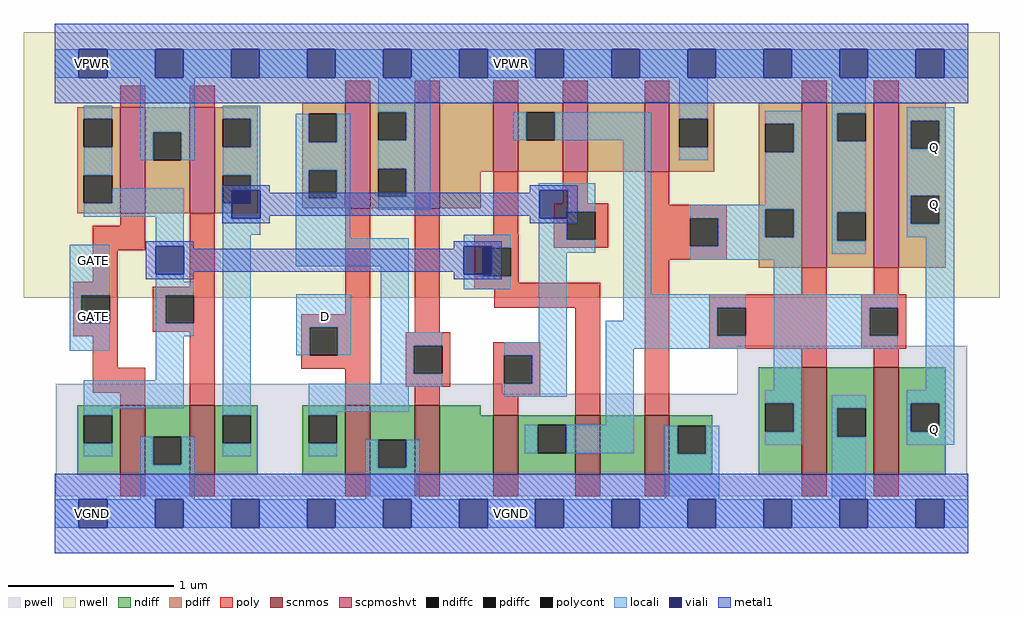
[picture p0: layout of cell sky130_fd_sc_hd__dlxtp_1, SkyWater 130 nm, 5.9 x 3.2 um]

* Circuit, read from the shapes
.subckt sky130_fd_sc_hd__dlxtp_1 D GATE VGND VNB VPB VPWR Q
XM1 VGND GATE n1 VNB sky130_fd_pr__nfet_01v8 w=0.42 l=0.15
XM2 n2 n1 VGND VNB sky130_fd_pr__nfet_01v8 w=0.42 l=0.15
XM3 VGND D n3 VNB sky130_fd_pr__nfet_01v8 w=0.42 l=0.15
XM4 n4 n3 VGND VNB sky130_fd_pr__nfet_01v8 w=0.42 l=0.15
XM5 n5 n2 n4 VNB sky130_fd_pr__nfet_01v8 w=0.36 l=0.15
XM6 n6 n1 n5 VNB sky130_fd_pr__nfet_01v8 w=0.36 l=0.15
XM7 VGND n7 n6 VNB sky130_fd_pr__nfet_01v8 w=0.36 l=0.15
XM8 VGND n5 n7 VNB sky130_fd_pr__nfet_01v8 w=0.65 l=0.15
XM9 Q n7 VGND VNB sky130_fd_pr__nfet_01v8 w=0.65 l=0.15
XM10 VPWR GATE n1 VPB sky130_fd_pr__pfet_01v8_hvt w=0.64 l=0.15
XM11 n2 n1 VPWR VPB sky130_fd_pr__pfet_01v8_hvt w=0.64 l=0.15
XM12 VPWR D n3 VPB sky130_fd_pr__pfet_01v8_hvt w=0.64 l=0.15
XM13 n8 n3 VPWR VPB sky130_fd_pr__pfet_01v8_hvt w=0.64 l=0.15
XM14 n5 n1 n8 VPB sky130_fd_pr__pfet_01v8_hvt w=0.42 l=0.15
XM15 n9 n2 n5 VPB sky130_fd_pr__pfet_01v8_hvt w=0.42 l=0.15
XM16 VPWR n7 n9 VPB sky130_fd_pr__pfet_01v8_hvt w=0.42 l=0.15
XM17 VPWR n5 n7 VPB sky130_fd_pr__pfet_01v8_hvt w=1 l=0.15
XM18 Q n7 VPWR VPB sky130_fd_pr__pfet_01v8_hvt w=1 l=0.15
.ends

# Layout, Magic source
magic
tech sky130A
magscale 1 2
<< nwell >>
rect -38 261 1142 582
<< pwell >>
rect 1 145 541 157
rect 825 145 1103 203
rect 1 21 1103 145
rect 29 -17 63 21
<< scnmos >>
rect 79 47 109 131
rect 163 47 193 131
rect 351 47 381 131
rect 435 47 465 131
rect 530 47 560 119
rect 629 47 659 119
rect 713 47 743 119
rect 903 47 933 177
rect 990 47 1020 177
<< scpmoshvt >>
rect 79 363 109 491
rect 163 363 193 491
rect 351 369 381 497
rect 435 369 465 497
rect 530 413 560 497
rect 614 413 644 497
rect 713 413 743 497
rect 903 297 933 497
rect 990 297 1020 497
<< ndiff >>
rect 27 119 79 131
rect 27 85 35 119
rect 69 85 79 119
rect 27 47 79 85
rect 109 93 163 131
rect 109 59 119 93
rect 153 59 163 93
rect 109 47 163 59
rect 193 119 245 131
rect 193 85 203 119
rect 237 85 245 119
rect 193 47 245 85
rect 299 119 351 131
rect 299 85 307 119
rect 341 85 351 119
rect 299 47 351 85
rect 381 89 435 131
rect 381 55 391 89
rect 425 55 435 89
rect 381 47 435 55
rect 465 119 515 131
rect 851 133 903 177
rect 465 47 530 119
rect 560 107 629 119
rect 560 73 584 107
rect 618 73 629 107
rect 560 47 629 73
rect 659 47 713 119
rect 743 106 795 119
rect 743 72 753 106
rect 787 72 795 106
rect 743 47 795 72
rect 851 99 859 133
rect 893 99 903 133
rect 851 47 903 99
rect 933 127 990 177
rect 933 93 946 127
rect 980 93 990 127
rect 933 47 990 93
rect 1020 133 1077 177
rect 1020 99 1035 133
rect 1069 99 1077 133
rect 1020 47 1077 99
<< pdiff >>
rect 27 477 79 491
rect 27 443 35 477
rect 69 443 79 477
rect 27 409 79 443
rect 27 375 35 409
rect 69 375 79 409
rect 27 363 79 375
rect 109 461 163 491
rect 109 427 119 461
rect 153 427 163 461
rect 109 363 163 427
rect 193 477 245 491
rect 193 443 203 477
rect 237 443 245 477
rect 193 409 245 443
rect 193 375 203 409
rect 237 375 245 409
rect 193 363 245 375
rect 299 483 351 497
rect 299 449 307 483
rect 341 449 351 483
rect 299 415 351 449
rect 299 381 307 415
rect 341 381 351 415
rect 299 369 351 381
rect 381 485 435 497
rect 381 451 391 485
rect 425 451 435 485
rect 381 417 435 451
rect 381 383 391 417
rect 425 383 435 417
rect 381 369 435 383
rect 465 413 530 497
rect 560 485 614 497
rect 560 451 570 485
rect 604 451 614 485
rect 560 413 614 451
rect 644 413 713 497
rect 743 477 797 497
rect 743 443 755 477
rect 789 443 797 477
rect 743 413 797 443
rect 851 471 903 497
rect 851 437 859 471
rect 893 437 903 471
rect 465 369 515 413
rect 851 368 903 437
rect 851 334 859 368
rect 893 334 903 368
rect 851 297 903 334
rect 933 484 990 497
rect 933 450 946 484
rect 980 450 990 484
rect 933 364 990 450
rect 933 330 946 364
rect 980 330 990 364
rect 933 297 990 330
rect 1020 475 1077 497
rect 1020 441 1035 475
rect 1069 441 1077 475
rect 1020 384 1077 441
rect 1020 350 1035 384
rect 1069 350 1077 384
rect 1020 297 1077 350
<< ndiffc >>
rect 35 85 69 119
rect 119 59 153 93
rect 203 85 237 119
rect 307 85 341 119
rect 391 55 425 89
rect 584 73 618 107
rect 753 72 787 106
rect 859 99 893 133
rect 946 93 980 127
rect 1035 99 1069 133
<< pdiffc >>
rect 35 443 69 477
rect 35 375 69 409
rect 119 427 153 461
rect 203 443 237 477
rect 203 375 237 409
rect 307 449 341 483
rect 307 381 341 415
rect 391 451 425 485
rect 391 383 425 417
rect 570 451 604 485
rect 755 443 789 477
rect 859 437 893 471
rect 859 334 893 368
rect 946 450 980 484
rect 946 330 980 364
rect 1035 441 1069 475
rect 1035 350 1069 384
<< poly >>
rect 79 491 109 517
rect 163 491 193 517
rect 351 497 381 523
rect 435 497 465 523
rect 530 497 560 523
rect 614 497 644 523
rect 713 497 743 523
rect 903 497 933 523
rect 990 497 1020 523
rect 79 348 109 363
rect 46 318 109 348
rect 46 280 76 318
rect 22 264 76 280
rect 163 274 193 363
rect 22 230 32 264
rect 66 230 76 264
rect 22 214 76 230
rect 118 264 193 274
rect 118 230 134 264
rect 168 230 193 264
rect 351 241 381 369
rect 118 220 193 230
rect 46 176 76 214
rect 46 146 109 176
rect 79 131 109 146
rect 163 131 193 220
rect 298 225 381 241
rect 298 191 308 225
rect 342 191 381 225
rect 435 219 465 369
rect 530 337 560 413
rect 614 375 644 413
rect 603 365 669 375
rect 507 321 561 337
rect 603 331 619 365
rect 653 331 669 365
rect 603 321 669 331
rect 713 373 743 413
rect 713 357 812 373
rect 713 323 768 357
rect 802 323 812 357
rect 507 287 517 321
rect 551 287 561 321
rect 507 279 561 287
rect 713 307 812 323
rect 507 271 659 279
rect 531 249 659 271
rect 298 175 381 191
rect 351 131 381 175
rect 424 203 478 219
rect 424 169 434 203
rect 468 169 478 203
rect 424 153 478 169
rect 530 191 587 207
rect 530 157 543 191
rect 577 157 587 191
rect 435 131 465 153
rect 530 141 587 157
rect 530 119 560 141
rect 629 119 659 249
rect 713 119 743 307
rect 903 265 933 297
rect 990 265 1020 297
rect 791 249 933 265
rect 791 215 801 249
rect 835 215 933 249
rect 791 199 933 215
rect 975 249 1029 265
rect 975 215 985 249
rect 1019 215 1029 249
rect 975 199 1029 215
rect 903 177 933 199
rect 990 177 1020 199
rect 79 21 109 47
rect 163 21 193 47
rect 351 21 381 47
rect 435 21 465 47
rect 530 21 560 47
rect 629 21 659 47
rect 713 21 743 47
rect 903 21 933 47
rect 990 21 1020 47
<< polycont >>
rect 32 230 66 264
rect 134 230 168 264
rect 308 191 342 225
rect 619 331 653 365
rect 768 323 802 357
rect 517 287 551 321
rect 434 169 468 203
rect 543 157 577 191
rect 801 215 835 249
rect 985 215 1019 249
<< locali >>
rect 0 527 29 561
rect 63 527 121 561
rect 155 527 213 561
rect 247 527 305 561
rect 339 527 397 561
rect 431 527 489 561
rect 523 527 581 561
rect 615 527 673 561
rect 707 527 765 561
rect 799 527 857 561
rect 891 527 949 561
rect 983 527 1041 561
rect 1075 527 1104 561
rect 35 477 69 493
rect 35 409 69 443
rect 103 461 169 527
rect 103 427 119 461
rect 153 427 169 461
rect 203 477 248 493
rect 391 485 454 527
rect 237 443 248 477
rect 203 409 248 443
rect 69 375 156 393
rect 35 359 156 375
rect 18 264 66 325
rect 18 230 32 264
rect 18 197 66 230
rect 122 323 156 359
rect 122 280 156 289
rect 237 391 248 409
rect 203 357 214 375
rect 203 337 248 357
rect 291 449 307 483
rect 341 449 357 483
rect 291 415 357 449
rect 291 381 307 415
rect 341 381 357 415
rect 122 264 168 280
rect 122 230 134 264
rect 122 214 168 230
rect 122 161 156 214
rect 35 127 156 161
rect 35 119 69 127
rect 203 119 237 337
rect 291 333 357 381
rect 425 451 454 485
rect 554 451 570 485
rect 604 451 721 485
rect 391 417 454 451
rect 425 383 454 417
rect 391 367 454 383
rect 585 391 653 399
rect 585 357 586 391
rect 620 365 653 391
rect 291 299 428 333
rect 292 225 358 265
rect 292 191 308 225
rect 342 191 358 225
rect 394 219 428 299
rect 494 323 551 337
rect 528 321 551 323
rect 494 287 517 289
rect 494 271 551 287
rect 585 331 619 357
rect 585 315 653 331
rect 394 203 468 219
rect 585 207 619 315
rect 687 265 721 451
rect 755 477 789 527
rect 755 427 789 443
rect 859 471 903 487
rect 893 437 903 471
rect 859 373 903 437
rect 768 368 903 373
rect 768 357 859 368
rect 802 334 859 357
rect 893 334 903 368
rect 802 323 903 334
rect 768 307 903 323
rect 939 484 980 527
rect 939 450 946 484
rect 939 364 980 450
rect 939 330 946 364
rect 1030 475 1087 491
rect 1030 441 1035 475
rect 1069 441 1087 475
rect 1030 384 1087 441
rect 1030 350 1035 384
rect 1069 350 1087 384
rect 1030 334 1087 350
rect 939 314 980 330
rect 869 265 903 307
rect 687 249 835 265
rect 687 233 801 249
rect 394 169 434 203
rect 394 157 468 169
rect 35 69 69 85
rect 103 59 119 93
rect 153 59 169 93
rect 203 69 237 85
rect 307 153 468 157
rect 543 191 619 207
rect 577 157 619 191
rect 307 123 428 153
rect 543 141 619 157
rect 666 215 801 233
rect 666 199 835 215
rect 869 249 1019 265
rect 869 215 985 249
rect 869 199 1019 215
rect 307 119 341 123
rect 666 107 700 199
rect 869 149 903 199
rect 1053 149 1087 334
rect 307 69 341 85
rect 103 17 169 59
rect 375 55 391 89
rect 425 55 441 89
rect 568 73 584 107
rect 618 73 700 107
rect 859 133 903 149
rect 375 17 441 55
rect 737 72 753 106
rect 787 72 803 106
rect 893 99 903 133
rect 859 83 903 99
rect 939 127 980 143
rect 939 93 946 127
rect 737 17 803 72
rect 939 17 980 93
rect 1030 133 1087 149
rect 1030 99 1035 133
rect 1069 99 1087 133
rect 1030 83 1087 99
rect 0 -17 29 17
rect 63 -17 121 17
rect 155 -17 213 17
rect 247 -17 305 17
rect 339 -17 397 17
rect 431 -17 489 17
rect 523 -17 581 17
rect 615 -17 673 17
rect 707 -17 765 17
rect 799 -17 857 17
rect 891 -17 949 17
rect 983 -17 1041 17
rect 1075 -17 1104 17
<< viali >>
rect 29 527 63 561
rect 121 527 155 561
rect 213 527 247 561
rect 305 527 339 561
rect 397 527 431 561
rect 489 527 523 561
rect 581 527 615 561
rect 673 527 707 561
rect 765 527 799 561
rect 857 527 891 561
rect 949 527 983 561
rect 1041 527 1075 561
rect 122 289 156 323
rect 214 375 237 391
rect 237 375 248 391
rect 214 357 248 375
rect 586 365 620 391
rect 586 357 619 365
rect 619 357 620 365
rect 494 321 528 323
rect 494 289 517 321
rect 517 289 528 321
rect 29 -17 63 17
rect 121 -17 155 17
rect 213 -17 247 17
rect 305 -17 339 17
rect 397 -17 431 17
rect 489 -17 523 17
rect 581 -17 615 17
rect 673 -17 707 17
rect 765 -17 799 17
rect 857 -17 891 17
rect 949 -17 983 17
rect 1041 -17 1075 17
<< metal1 >>
rect 0 561 1104 592
rect 0 527 29 561
rect 63 527 121 561
rect 155 527 213 561
rect 247 527 305 561
rect 339 527 397 561
rect 431 527 489 561
rect 523 527 581 561
rect 615 527 673 561
rect 707 527 765 561
rect 799 527 857 561
rect 891 527 949 561
rect 983 527 1041 561
rect 1075 527 1104 561
rect 0 496 1104 527
rect 202 391 260 397
rect 202 357 214 391
rect 248 388 260 391
rect 574 391 632 397
rect 574 388 586 391
rect 248 360 586 388
rect 248 357 260 360
rect 202 351 260 357
rect 574 357 586 360
rect 620 357 632 391
rect 574 351 632 357
rect 110 323 168 329
rect 110 289 122 323
rect 156 320 168 323
rect 482 323 540 329
rect 482 320 494 323
rect 156 292 494 320
rect 156 289 168 292
rect 110 283 168 289
rect 482 289 494 292
rect 528 289 540 323
rect 482 283 540 289
rect 0 17 1104 48
rect 0 -17 29 17
rect 63 -17 121 17
rect 155 -17 213 17
rect 247 -17 305 17
rect 339 -17 397 17
rect 431 -17 489 17
rect 523 -17 581 17
rect 615 -17 673 17
rect 707 -17 765 17
rect 799 -17 857 17
rect 891 -17 949 17
rect 983 -17 1041 17
rect 1075 -17 1104 17
rect 0 -48 1104 -17
<< labels >>
flabel locali s 310 221 344 255 0 FreeSans 200 0 0 0 D
port 1 nsew signal input
flabel locali s 30 221 64 255 0 FreeSans 200 0 0 0 GATE
port 2 nsew clock input
flabel locali s 1046 357 1080 391 0 FreeSans 200 0 0 0 Q
port 7 nsew signal output
flabel locali s 30 289 64 323 0 FreeSans 200 0 0 0 GATE
port 2 nsew clock input
flabel locali s 1046 425 1080 459 0 FreeSans 200 0 0 0 Q
port 7 nsew signal output
flabel locali s 1046 85 1080 119 0 FreeSans 200 0 0 0 Q
port 7 nsew signal output
flabel metal1 s 29 -17 63 17 0 FreeSans 200 0 0 0 VGND
port 3 nsew ground bidirectional abutment
flabel metal1 s 29 527 63 561 0 FreeSans 200 0 0 0 VPWR
port 6 nsew power bidirectional abutment
flabel nwell s 29 527 63 561 0 FreeSans 200 0 0 0 VPB
port 5 nsew power bidirectional
flabel nwell s 46 544 46 544 0 FreeSans 200 0 0 0 VPB
flabel pwell s 29 -17 63 17 0 FreeSans 200 0 0 0 VNB
port 4 nsew ground bidirectional
flabel pwell s 46 0 46 0 0 FreeSans 200 0 0 0 VNB
rlabel comment s 0 0 0 0 4 dlxtp_1
rlabel metal1 s 0 -48 1104 48 1 VGND
port 3 nsew ground bidirectional abutment
rlabel metal1 s 0 496 1104 592 1 VPWR
port 6 nsew power bidirectional abutment
<< properties >>
string FIXED_BBOX 0 0 1104 544
string GDS_END 2876762
string GDS_FILE $PDKPATH/libs.ref/sky130_fd_sc_hd/gds/sky130_fd_sc_hd.gds
string GDS_START 2866612
string LEFclass CORE
string LEFsite unithd
string LEFsymmetry X Y R90
string path 0.000 0.000 27.600 0.000 
<< end >>
